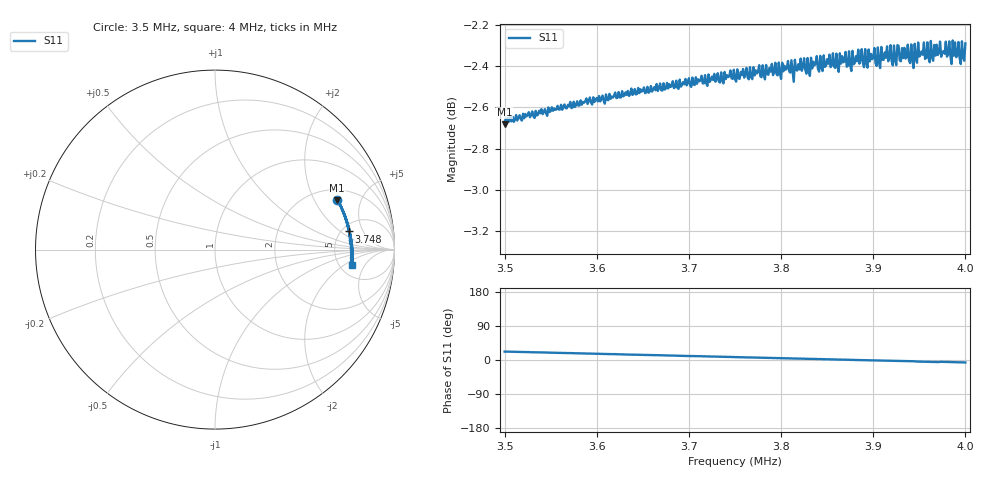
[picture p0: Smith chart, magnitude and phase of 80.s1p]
# Hz S RI R 50
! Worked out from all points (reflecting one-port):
!   401 points, 3.5 MHz to 4 MHz, reference 50 ohm
!   lowest |S11| = -2.7 dB at 3.5 MHz (marker M1), VSWR 6.53, Z = 129 + j155 ohm
!   phase of S11 starts at 22 deg and turns -29 deg over the sweep
!   S11 on the Smith chart (normalised r, x): 3.5 MHz: 2.57, +3.10; 3.748 MHz: 5.81, +2.71; 4 MHz: 6.46, -2.73
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3500000  0.6802 0.2769
3503750  0.6825 0.2781
3516250  0.687 0.2697
3562500  0.702 0.2353
3625000  0.7205 0.1916
3687500  0.7352 0.1461
3747500  0.7465 0.1009
3750000  0.7465 0.0995
3812500  0.7547 0.052
3875000  0.7591 0.00426
3885000  0.7597 -0.00274
3891250  0.7659 -0.00473
3898750  0.7615 -0.0123
3905000  0.7665 -0.0155
3916250  0.7603 -0.0266
3922500  0.7669 -0.029
3925000  0.7584 -0.033
3937500  0.7668 -0.0397
3942500  0.7603 -0.0459
3948750  0.7669 -0.053
3956250  0.7593 -0.0605
3962500  0.7667 -0.0644
3968750  0.7646 -0.0697
3975000  0.762 -0.0646
3985000  0.7563 -0.0706
3991250  0.759 -0.0802
3996250  0.7647 -0.0838
4000000  0.7635 -0.0866
